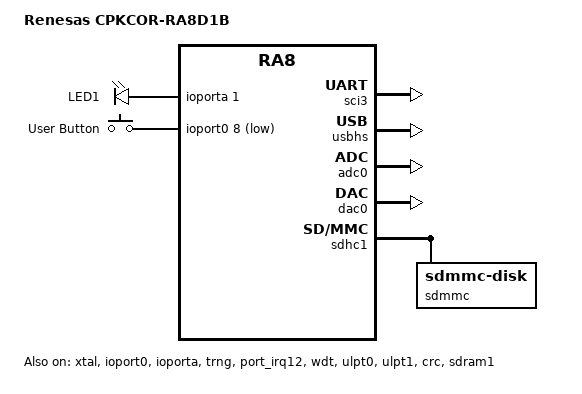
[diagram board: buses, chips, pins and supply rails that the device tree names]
/*
 * Copyright (c) 2025 Jisheng Zhang <jszhang@kernel.org>
 * SPDX-License-Identifier: Apache-2.0
 */

/dts-v1/;

#include <renesas/ra/ra8/r7fa8d1bhecbd.dtsi>
#include <dt-bindings/gpio/gpio.h>
#include <dt-bindings/input/input-event-codes.h>
#include <zephyr/dt-bindings/memory-attr/memory-attr-arm.h>
#include <zephyr/dt-bindings/memory-controller/renesas,ra-sdram.h>
#include <zephyr/dt-bindings/adc/adc.h>
#include "cpkcor_ra8d1b-pinctrl.dtsi"

/ {
	model = "Renesas CPKCOR-RA8D1B";
	compatible = "renesas,ra8d1", "renesas,ra8";

	chosen {
		zephyr,sram = &sram0;
		zephyr,flash = &flash0;
		zephyr,itcm = &itcm;
		zephyr,dtcm = &dtcm;
		zephyr,console = &uart3;
		zephyr,shell-uart = &uart3;
		zephyr,entropy = &trng;
		zephyr,flash-controller = &flash;
		zephyr,crc = &crc;
	};

	leds {
		compatible = "gpio-leds";

		led0: led0 {
			gpios = <&ioporta 1 GPIO_ACTIVE_HIGH>;
			label = "LED1";
		};
	};

	buttons {
		compatible = "gpio-keys";

		button0: s1 {
			gpios = <&ioport0 8 (GPIO_PULL_UP | GPIO_ACTIVE_LOW)>;
			label = "User Button";
			zephyr,code = <INPUT_KEY_0>;
		};
	};

	sdram1: sdram@68000000 {
		compatible = "zephyr,memory-region", "mmio-sram";
		device_type = "memory";
		reg = <0x68000000 DT_SIZE_M(32)>;	/* 256 Mbits */
		zephyr,memory-region = "SDRAM";
		status = "okay";
	};

	aliases {
		led0 = &led0;
		sw0 = &button0;
		watchdog0 = &wdt;
		sdhc0 = &sdhc1;
	};
};

&xtal {
	clock-frequency = <DT_FREQ_M(24)>;
	mosel = <0>;
	#clock-cells = <0>;
	status = "okay";
};

&subclk {
	status = "okay";
};

&pll {
	status = "okay";
	div = <4>;
	mul = <160 0>;

	pllp {
		status = "okay";
	};

	pllq {
		div = <4>;
		freq = <DT_FREQ_M(240)>;
		status = "okay";
	};

	pllr {
		status = "okay";
	};
};

&pll2 {
	status = "okay";
	clocks = <&xtal>;
	div = <3>;
	mul = <100 0>;

	pll2p {
		status = "okay";
		freq = <DT_FREQ_M(200)>;
		div = <4>;
	};
};

&sciclk {
	clocks = <&pllp>;
	div = <4>;
	status = "okay";
};

&uclk {
	clocks = <&pllq>;
	div = <5>;
	status = "okay";
};

&ioport0 {
	status = "okay";
};

&ioporta {
	status = "okay";
};

&sci3 {
	pinctrl-0 = <&sci3_default>;
	pinctrl-names = "default";
	status = "okay";

	uart3: uart {
		current-speed = <115200>;
		status = "okay";
	};
};

&trng {
	status = "okay";
};

&flash1 {
	partitions {
		compatible = "fixed-partitions";
		#address-cells = <1>;
		#size-cells = <1>;

		storage_partition: partition@0 {
			label = "storage";
			reg = <0x0 DT_SIZE_K(12)>;
		};
	};
};

&usbhs {
	pinctrl-0 = <&usbhs_default>;
	pinctrl-names = "default";
	maximum-speed = "high-speed";
	status = "okay";

	zephyr_udc0: udc {
		status = "okay";
	};
};

&usbhs_phy {
	phys-clock-src = "xtal";
};

&adc0 {
	status = "okay";
	pinctrl-0 = <&adc0_default>;
	pinctrl-names = "default";
};

&dac0 {
	pinctrl-0 = <&dac0_default>;
	pinctrl-names = "default";
	status = "okay";
};

&port_irq12 {
	interrupts = <88 12>;
	status = "okay";
};

&sdram {
	pinctrl-0 = <&sdram_default>;
	pinctrl-names = "default";
	status = "okay";
	auto-refresh-interval = <SDRAM_AUTO_REFRESH_INTERVAL_10CYCLES>;
	auto-refresh-count = <SDRAM_AUTO_REFRESH_COUNT_8TIMES>;
	precharge-cycle-count = <SDRAM_AUTO_PRECHARGE_CYCLE_3CYCLES>;
	multiplex-addr-shift = "8-bit";
	endian-mode = "little-endian";
	continuous-access;
	bus-width = "16-bit";

	bank@0 {
		reg = <0>;
		renesas,ra-sdram-timing = <SDRAM_TRAS_6CYCLES
					   SDRAM_TRCD_3CYCLES
					   SDRAM_TRP_3CYCLES
					   SDRAM_TWR_2CYCLES
					   SDRAM_TCL_3CYCLES
					   937
					   SDRAM_TREFW_8CYCLES>;
	};
};

&wdt {
	status = "okay";
};

&ulpt0 {
	status = "okay";

	timer {
		status = "okay";
	};
};

&ulpt1 {
	status = "okay";

	timer {
		status = "okay";
	};
};

&crc {
	status = "okay";
};

&sdhc1 {
	pinctrl-names = "default";
	interrupt-names = "accs", "card", "dma-req";
	interrupts = <60 12>, <61 12>, <62 12>;
	pinctrl-0 = <&sdhc1_default>;
	status = "okay";

	sdmmc {
		compatible = "zephyr,sdmmc-disk";
		disk-name = "SD";
		status = "okay";
	};
};
